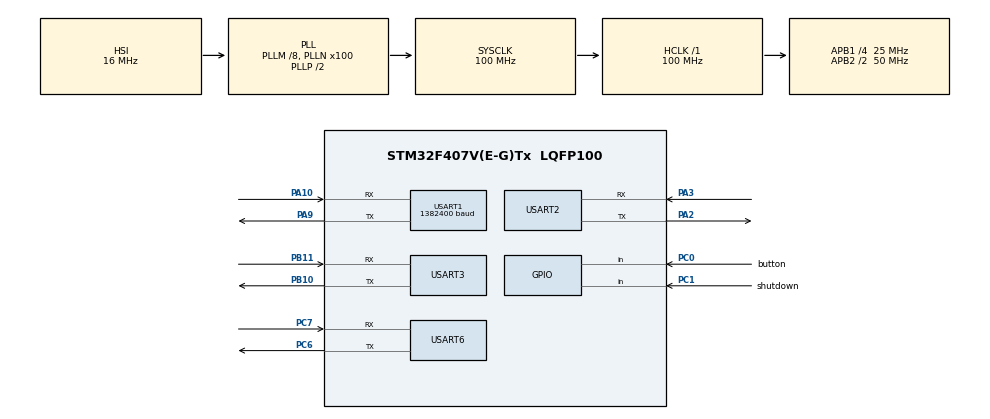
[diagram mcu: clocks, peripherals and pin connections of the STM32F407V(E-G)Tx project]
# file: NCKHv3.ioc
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IWDG.Prescaler=IWDG_PRESCALER_64
IWDG.Reload=500
Mcu.Family=STM32F4
Mcu.Name=STM32F407V(E-G)Tx
Mcu.Package=LQFP100
NVIC.PriorityGroup=NVIC_PRIORITYGROUP_4
PA10.Mode=Asynchronous
PA10.Signal=USART1_RX
PA13.Mode=Serial_Wire
PA13.Signal=SYS_JTMS-SWDIO
PA14.Mode=Serial_Wire
PA14.Signal=SYS_JTCK-SWCLK
PA2.Mode=Asynchronous
PA2.Signal=USART2_TX
PA3.Mode=Asynchronous
PA3.Signal=USART2_RX
PA9.Mode=Asynchronous
PA9.Signal=USART1_TX
PB10.Mode=Asynchronous
PB10.Signal=USART3_TX
PB11.Mode=Asynchronous
PB11.Signal=USART3_RX
PC0.GPIO_Label=button
PC0.Signal=GPIO_Input
PC1.GPIO_Label=shutdown
PC1.Signal=GPIO_Input
PC6.Mode=Asynchronous
PC6.Signal=USART6_TX
PC7.Mode=Asynchronous
PC7.Signal=USART6_RX
PH0-OSC_IN.Mode=HSE-External-Oscillator
PH0-OSC_IN.Signal=RCC_OSC_IN
PH1-OSC_OUT.Mode=HSE-External-Oscillator
PH1-OSC_OUT.Signal=RCC_OSC_OUT
ProjectManager.HeapSize=0x200
ProjectManager.StackSize=0x400
ProjectManager.TargetToolchain=MDK-ARM V5.32
RCC.48MHZClocksFreq_Value=50000000
RCC.AHBFreq_Value=100000000
RCC.APB1CLKDivider=RCC_HCLK_DIV4
RCC.APB1Freq_Value=25000000
RCC.APB1TimFreq_Value=50000000
RCC.APB2CLKDivider=RCC_HCLK_DIV2
RCC.APB2Freq_Value=50000000
RCC.APB2TimFreq_Value=100000000
RCC.CortexFreq_Value=100000000
RCC.HCLKFreq_Value=100000000
RCC.HSE_VALUE=25000000
RCC.HSI_VALUE=16000000
RCC.LSE_VALUE=32768
RCC.PLLM=8
RCC.PLLN=100
RCC.SYSCLKFreq_VALUE=100000000
RCC.SYSCLKSource=RCC_SYSCLKSOURCE_PLLCLK
RCC.VCOOutputFreq_Value=200000000
USART1.BaudRate=1382400
USART1.VirtualMode=VM_ASYNC
USART2.VirtualMode=VM_ASYNC
USART3.VirtualMode=VM_ASYNC
USART6.VirtualMode=VM_ASYNC
VP_IWDG_VS_IWDG.Mode=IWDG_Activate
board=custom

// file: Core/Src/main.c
/* USER CODE BEGIN Header */
/**
 ******************************************************************************
 * @file           : main.c
 * @brief          : Main program body
 ******************************************************************************
 * @attention
 *
 * Copyright (c) 2025 STMicroelectronics.
 * All rights reserved.
 *
 * This software is licensed under terms that can be found in the LICENSE file
 * in the root directory of this software component.
 * If no LICENSE file comes with this software, it is provided AS-IS.
 *
 ******************************************************************************
 */
/* USER CODE END Header */
#include "main.h"

/* USER CODE BEGIN Includes */
#include "ESP32UART.h"
#include "DHT.h"
#include "HLK_LD6002.h"
#include "sms.h"
#include "string.h"
#include "stdio.h"
#include "stdint.h"
/* USER CODE END Includes */

/* USER CODE BEGIN PTD */
typedef enum
{
  STATE_INIT = 0,
  STATE_IDLE,
  STATE_RUN,
  STATE_ERROR,
  STATE_SHUTDOWN,
  STATE_STOP,
  STATE_MAX
} SystemState_t;

typedef enum
{
  EVENT_INIT_SUCCESS = 0,
  EVENT_INIT_FAIL,
  EVENT_START_SUCCESS,
  EVENT_START_FAIL,
  EVENT_ERROR_OCCUR,
  EVENT_SHUTDOWN_REQUEST,
  EVENT_SHUTDOWN_FAIL,
  EVENT_SHUTDOWN_SUCCESS,
  EVENT_RESET,
  EVENT_FORCE_STOP,
  EVENT_MAX
} Event_t;

typedef enum
{
  R_OK = 0,
  R_ERROR,
  R_MAX,
} status_t;
/* USER CODE END PTD */

/* USER CODE BEGIN PM */
#define MAX_RESET_COUNT 3
#define CHECK_INTERVAL 10
#define MAX_PHONE_NUMBERS 1
#define ON 1  // 1: ON, 0: OFF
#define OFF 0 // 1: ON, 0: OFF
#define TRUE 1
#define FALSE 0
#define PRESS 0
#define RELEASE 1
#define DEBUG_BUFFER_SIZE 128
#define DEBUG_UART
#ifdef DEBUG_UART
#define DEBUG_PRINT(fmt, ...)                                                           \
  do                                                                                    \
  {                                                                                     \
    char debug_buf[DEBUG_BUFFER_SIZE];                                                  \
    sprintf(debug_buf, fmt, ##__VA_ARGS__);                                             \
    HAL_UART_Transmit(&huart6, (uint8_t *)debug_buf, strlen(debug_buf), HAL_MAX_DELAY); \
  } while (0)
#else
#define DEBUG_PRINT(fmt, ...) // Không làm gì nếu DEBUG_UART chưa bật
#endif

/* USER CODE END PM */

IWDG_HandleTypeDef hiwdg;

UART_HandleTypeDef huart1;
UART_HandleTypeDef huart2;
UART_HandleTypeDef huart3;
UART_HandleTypeDef huart6;

/* USER CODE BEGIN PV */
SystemState_t currentState = STATE_INIT;
SystemState_t next_State = STATE_INIT;
Event_t event = EVENT_INIT_FAIL;
RadarData data;
static uint8_t alertSent = 0;
uint32_t startTime = 0; // Luu thoi gian bat dau kiem tra
uint8_t foundChild = 0; // Danh dau phat hien tre

uint8_t reset_count = 0;
uint8_t childDetected = 0;    // 0: ko co tre, 1: phat hien tre
uint8_t vehicleRunning = OFF; // 0: xe dung, 1: xe chay
uint8_t shutdown_request = FALSE;

char *phoneNumbers[] = {"+84833426235"};
uint8_t phoneCount = sizeof(phoneNumbers) / sizeof(phoneNumbers[0]);

/* USER CODE END PV */

void SystemClock_Config(void);
static void MX_GPIO_Init(void);
static void MX_USART1_UART_Init(void);
static void MX_USART2_UART_Init(void);
static void MX_USART3_UART_Init(void);
static void MX_USART6_UART_Init(void);
static void MX_IWDG_Init(void);
/* USER CODE BEGIN PFP */

status_t Deinit_all(void);
void execute_action(void);
void judge_state(void);

/* USER CODE END PFP */

/* USER CODE BEGIN 0 */
void execute_action(void)
{
  status_t ret = R_OK;
  switch (currentState)
  {
  case STATE_INIT:
  {
    HLK_LD6002_Init(&huart1);
    ESP32UART_Init(&huart2);
    SMS_Init(&huart3);

    if (ret == R_OK)
    {
      event = EVENT_INIT_SUCCESS;
    }
    else if (ret == R_ERROR)
    {
      event = EVENT_INIT_FAIL;
    }
    break;
  }

  case STATE_IDLE:
  {
    vehicleRunning = HAL_GPIO_ReadPin(GPIOC, GPIO_PIN_0);

    if (vehicleRunning == OFF)
    {
      event = EVENT_START_SUCCESS;
    }
    else
    {
      event = EVENT_START_FAIL;
    }
    break;
  }

  case STATE_RUN:
  {
    if (HAL_GPIO_ReadPin(GPIOC, GPIO_PIN_1) == PRESS)
    {
      shutdown_request = TRUE;

      event = EVENT_SHUTDOWN_REQUEST;
    }
    else if (shutdown_request == FALSE)
    {
      HLK_LD6002_ProcessData();
      data = HLK_LD6002_GetRadarData();

      if (data.heart_rate > 0 || data.breath_rate > 0 || data.distance_flag == 1)
      {
        // phat hien tre gui canh bao
        char espData[50];
        snprintf(espData, sizeof(espData), "HR:%d,BR:%d,DIST:%d",
                 (int)data.heart_rate,
                 (int)data.breath_rate,
                 (data.distance_flag) ? (int)data.distance : -1);
        ESP32UART_SendData(espData);
        HAL_UART_Transmit(&huart6, (uint8_t *)espData, strlen(espData), HAL_MAX_DELAY);

        if (!alertSent)
        {
          for (uint8_t i = 0; i < phoneCount; i++)
          {
            SMS_Send(phoneNumbers[i], "Canh bao! Tre bi bo quen tren xe!");
          }
          ESP32UART_SendData("ALERT_CHILD_DETECTED");
          alertSent = 1;
        }
      }
      else
      {
        // ko phat hien tre quet trong 10p
        startTime = HAL_GetTick();
        foundChild = 0;
        while ((HAL_GetTick() - startTime) < (10 * 60 * 1000))
        {
          HLK_LD6002_ProcessData();
          data = HLK_LD6002_GetRadarData();
          if (data.heart_rate > 0 || data.breath_rate > 0 || data.distance_flag == 1)
          {
            foundChild = 1;
            break;
          }
          HAL_Delay(1000);
        }

        if (foundChild)
        {
          for (uint8_t i = 0; i < phoneCount; i++)
          {
            SMS_Send(phoneNumbers[i], "Canh bao! Tre bi bo quen tren xe!");
          }
          ESP32UART_SendData("ALERT_CHILD_DETECTED");
        }
      }
    }

    break;
  }
  case STATE_ERROR:
    /* Dev after handle EEPROM */

    // if (reset_count < MAX_RESET_COUNT)
    // {
    //   reset_count++;
    //   HAL_NVIC_SystemReset(); // Reset
    // }
    // else
    // {
    //   event = EVENT_FORCE_STOP;
    // }

    HAL_NVIC_SystemReset(); // Reset

    break;

  case STATE_SHUTDOWN:
    ret = Deinit_all();

    if (ret == R_OK)
    {
      event = EVENT_SHUTDOWN_SUCCESS;
    }
    else if (ret == R_ERROR)
    {
      event = EVENT_SHUTDOWN_FAIL;
    }
    // ESP32UART_SendData("System shutting down...");
    // HAL_GPIO_WritePin(GPIOB, GPIO_PIN_1, GPIO_PIN_RESET); // Tat nguon

    // Standby Mode
    // HAL_PWR_EnableWakeUpPin(PWR_WAKEUP_PIN1);
    // HAL_PWR_EnterSTANDBYMode();
    break;
  case STATE_STOP:

    ESP32UART_SendData("System Stopped\r\n");

    // HAL_PWR_EnterSTOPMode(PWR_LOWPOWERREGULATOR_ON, PWR_STOPENTRY_WFI);
    break;
  }
}

void judge_state(void)
{

  switch (currentState)
  {
  case STATE_INIT:
    if (event == EVENT_INIT_SUCCESS)
    {
      DEBUG_PRINT("Init success\r\n");
      next_State = STATE_IDLE;
    }
    else if (event == EVENT_INIT_FAIL)
    {
      DEBUG_PRINT("Init fail\r\n");
      next_State = STATE_ERROR;
    }
    break;

  case STATE_IDLE:
    if (event == EVENT_START_SUCCESS)
    {
      DEBUG_PRINT("Start success\r\n");
      next_State = STATE_RUN;
    }
    else if (event == EVENT_START_FAIL)
    {
      DEBUG_PRINT("Start fail\r\n");
      next_State = STATE_ERROR;
    }
    break;
  case STATE_RUN:
    if (event == EVENT_SHUTDOWN_REQUEST)
    {
      DEBUG_PRINT("Shutdown request\r\n");
      next_State = STATE_SHUTDOWN;
    }
    else if (event == EVENT_ERROR_OCCUR)
    {
      DEBUG_PRINT("Error occur\r\n");
      next_State = STATE_ERROR;
    }
    break;

  case STATE_SHUTDOWN:
    if (event == EVENT_SHUTDOWN_SUCCESS)
    {
      DEBUG_PRINT("Shutdown success\r\n");
      next_State = STATE_STOP;
    }
    else if (event == EVENT_SHUTDOWN_FAIL)
    {
      DEBUG_PRINT("Shutdown fail\r\n");
      next_State = STATE_ERROR;
    }
    break;

  case STATE_ERROR:
    if (event == EVENT_FORCE_STOP)
    {
      DEBUG_PRINT("Force stop\r\n");
      next_State = STATE_STOP;
    }
    else if (event == EVENT_RESET)
    {
      DEBUG_PRINT("Reset\r\n");
      next_State = STATE_INIT;
    }
    break;

  case STATE_STOP:
    /* Do nothing*/
    break;
  }
  currentState = next_State;
}

status_t Deinit_all(void)
{
  status_t ret = R_OK;
  /* TO DO */

  // ESP32UART_Deinit();
  // HLK_LD6002_Deinit();
  // SMS_Deinit();
  return ret;
}
/* USER CODE END 0 */

int main(void)
{

  /* MCU Configuration--------------------------------------------------------*/

  /* Reset of all peripherals, Initializes the Flash interface and the Systick. */
  HAL_Init();

  /* Configure the system clock */
  SystemClock_Config();

  /* Initialize all configured peripherals */
  MX_GPIO_Init();
  MX_USART1_UART_Init();
  MX_USART2_UART_Init();
  MX_USART3_UART_Init();
  MX_USART6_UART_Init();
  MX_IWDG_Init();
  /* USER CODE BEGIN 2 */
  DEBUG_PRINT("hhhhh hhhh\r\n");
  /* USER CODE END 2 */

  /* Infinite loop */
  /* USER CODE BEGIN WHILE */
  while (1)
  {
    /* Update state*/
    judge_state();

    switch (currentState)
    {
    case STATE_INIT:

      execute_action();
      break;

    case STATE_IDLE:

      execute_action();
      break;

    case STATE_RUN:

      execute_action();
      break;

    case STATE_ERROR:

      execute_action();
      break;

    case STATE_SHUTDOWN:

      execute_action();
      break;

    case STATE_STOP:
      execute_action();
      return 0;

      /* USER CODE END WHILE */

      /* USER CODE BEGIN 3 */
    }
    /* USER CODE END WHILE */

    /* USER CODE BEGIN 3 */
  }
  /* USER CODE END 3 */
}

void SystemClock_Config(void)
{
  RCC_OscInitTypeDef RCC_OscInitStruct = {0};
  RCC_ClkInitTypeDef RCC_ClkInitStruct = {0};

  /** Configure the main internal regulator output voltage
   */
  __HAL_RCC_PWR_CLK_ENABLE();
  __HAL_PWR_VOLTAGESCALING_CONFIG(PWR_REGULATOR_VOLTAGE_SCALE1);

  /** Initializes the RCC Oscillators according to the specified parameters
   * in the RCC_OscInitTypeDef structure.
   */
  RCC_OscInitStruct.OscillatorType = RCC_OSCILLATORTYPE_HSI | RCC_OSCILLATORTYPE_LSI;
  RCC_OscInitStruct.HSIState = RCC_HSI_ON;
  RCC_OscInitStruct.HSICalibrationValue = RCC_HSICALIBRATION_DEFAULT;
  RCC_OscInitStruct.LSIState = RCC_LSI_ON;
  RCC_OscInitStruct.PLL.PLLState = RCC_PLL_ON;
  RCC_OscInitStruct.PLL.PLLSource = RCC_PLLSOURCE_HSI;
  RCC_OscInitStruct.PLL.PLLM = 8;
  RCC_OscInitStruct.PLL.PLLN = 100;
  RCC_OscInitStruct.PLL.PLLP = RCC_PLLP_DIV2;
  RCC_OscInitStruct.PLL.PLLQ = 4;
  if (HAL_RCC_OscConfig(&RCC_OscInitStruct) != HAL_OK)
  {
    Error_Handler();
  }

  /** Initializes the CPU, AHB and APB buses clocks
   */
  RCC_ClkInitStruct.ClockType = RCC_CLOCKTYPE_HCLK | RCC_CLOCKTYPE_SYSCLK | RCC_CLOCKTYPE_PCLK1 | RCC_CLOCKTYPE_PCLK2;
  RCC_ClkInitStruct.SYSCLKSource = RCC_SYSCLKSOURCE_PLLCLK;
  RCC_ClkInitStruct.AHBCLKDivider = RCC_SYSCLK_DIV1;
  RCC_ClkInitStruct.APB1CLKDivider = RCC_HCLK_DIV4;
  RCC_ClkInitStruct.APB2CLKDivider = RCC_HCLK_DIV2;

  if (HAL_RCC_ClockConfig(&RCC_ClkInitStruct, FLASH_LATENCY_3) != HAL_OK)
  {
    Error_Handler();
  }
}

static void MX_IWDG_Init(void)
{

  hiwdg.Instance = IWDG;
  hiwdg.Init.Prescaler = IWDG_PRESCALER_64;
  hiwdg.Init.Reload = 500;
  if (HAL_IWDG_Init(&hiwdg) != HAL_OK)
  {
    Error_Handler();
  }
}

static void MX_USART1_UART_Init(void)
{

  huart1.Instance = USART1;
  huart1.Init.BaudRate = 1382400;
  huart1.Init.WordLength = UART_WORDLENGTH_8B;
  huart1.Init.StopBits = UART_STOPBITS_1;
  huart1.Init.Parity = UART_PARITY_NONE;
  huart1.Init.Mode = UART_MODE_TX_RX;
  huart1.Init.HwFlowCtl = UART_HWCONTROL_NONE;
  huart1.Init.OverSampling = UART_OVERSAMPLING_16;
  if (HAL_UART_Init(&huart1) != HAL_OK)
  {
    Error_Handler();
  }
}

static void MX_USART2_UART_Init(void)
{

  huart2.Instance = USART2;
  huart2.Init.BaudRate = 115200;
  huart2.Init.WordLength = UART_WORDLENGTH_8B;
  huart2.Init.StopBits = UART_STOPBITS_1;
  huart2.Init.Parity = UART_PARITY_NONE;
  huart2.Init.Mode = UART_MODE_TX_RX;
  huart2.Init.HwFlowCtl = UART_HWCONTROL_NONE;
  huart2.Init.OverSampling = UART_OVERSAMPLING_16;
  if (HAL_UART_Init(&huart2) != HAL_OK)
  {
    Error_Handler();
  }
}

static void MX_USART3_UART_Init(void)
{

  huart3.Instance = USART3;
  huart3.Init.BaudRate = 115200;
  huart3.Init.WordLength = UART_WORDLENGTH_8B;
  huart3.Init.StopBits = UART_STOPBITS_1;
  huart3.Init.Parity = UART_PARITY_NONE;
  huart3.Init.Mode = UART_MODE_TX_RX;
  huart3.Init.HwFlowCtl = UART_HWCONTROL_NONE;
  huart3.Init.OverSampling = UART_OVERSAMPLING_16;
  if (HAL_UART_Init(&huart3) != HAL_OK)
  {
    Error_Handler();
  }
}

static void MX_USART6_UART_Init(void)
{

  huart6.Instance = USART6;
  huart6.Init.BaudRate = 115200;
  huart6.Init.WordLength = UART_WORDLENGTH_8B;
  huart6.Init.StopBits = UART_STOPBITS_1;
  huart6.Init.Parity = UART_PARITY_NONE;
  huart6.Init.Mode = UART_MODE_TX_RX;
  huart6.Init.HwFlowCtl = UART_HWCONTROL_NONE;
  huart6.Init.OverSampling = UART_OVERSAMPLING_16;
  if (HAL_UART_Init(&huart6) != HAL_OK)
  {
    Error_Handler();
  }
}

static void MX_GPIO_Init(void)
{
  GPIO_InitTypeDef GPIO_InitStruct = {0};

  /* GPIO Ports Clock Enable */
  __HAL_RCC_GPIOH_CLK_ENABLE();
  __HAL_RCC_GPIOC_CLK_ENABLE();
  __HAL_RCC_GPIOA_CLK_ENABLE();
  __HAL_RCC_GPIOB_CLK_ENABLE();

  /*Configure GPIO pins : button_Pin shutdown_Pin */
  GPIO_InitStruct.Pin = button_Pin | shutdown_Pin;
  GPIO_InitStruct.Mode = GPIO_MODE_INPUT;
  GPIO_InitStruct.Pull = GPIO_NOPULL;
  HAL_GPIO_Init(GPIOC, &GPIO_InitStruct);

}

void Error_Handler(void)
{
  __disable_irq();
  while (1)
  {
  }
}
